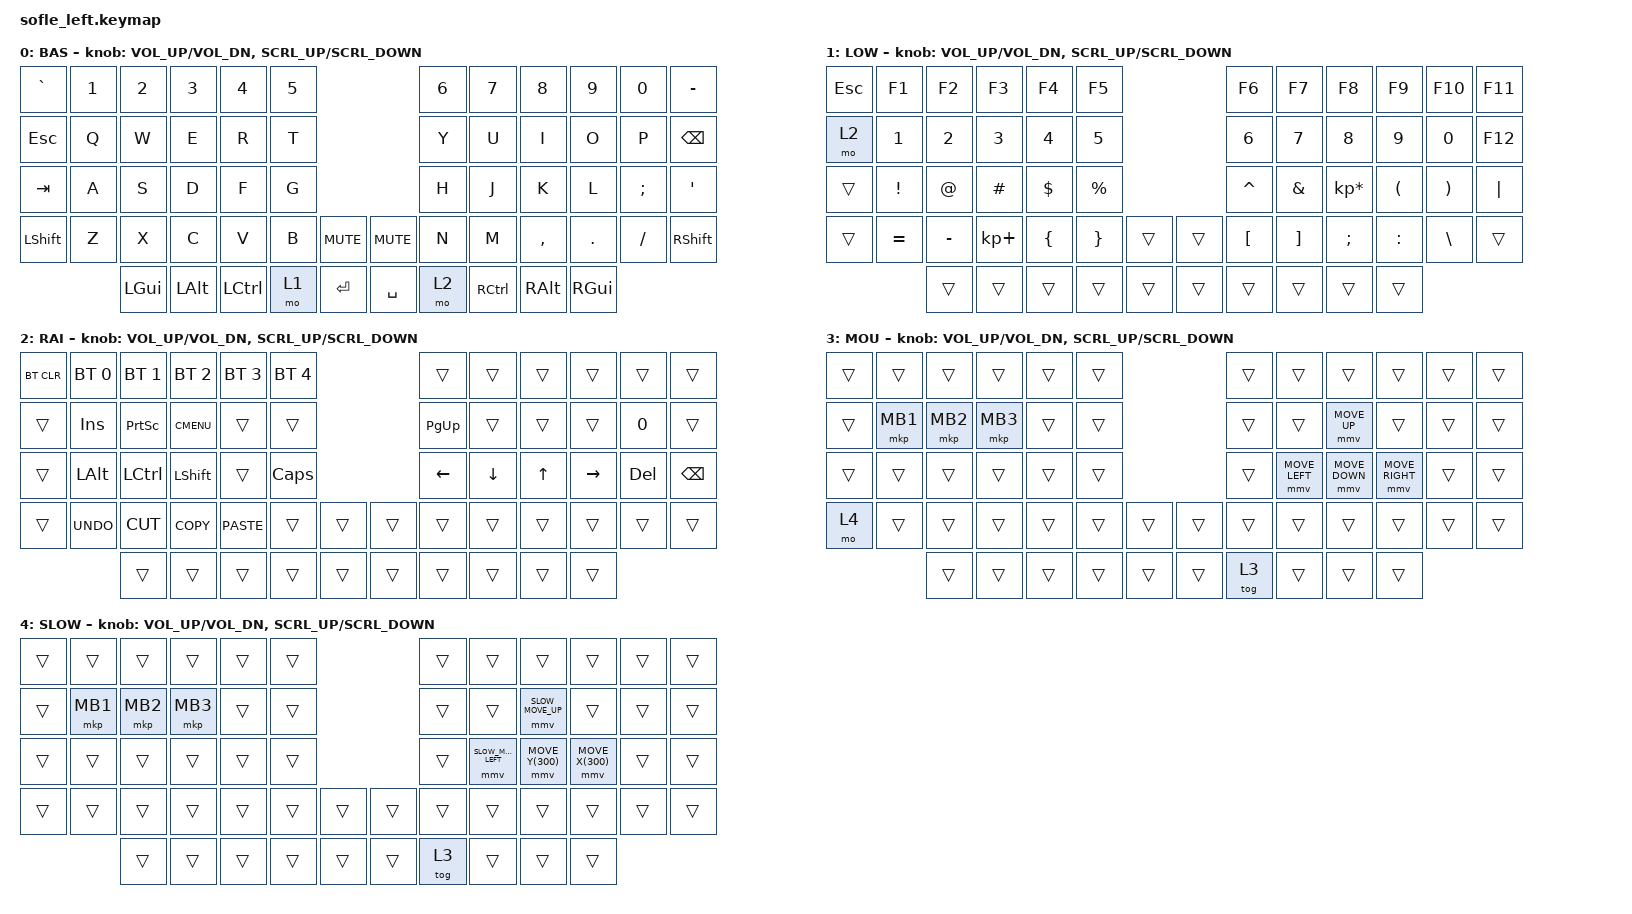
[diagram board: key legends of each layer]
/*
 * Copyright (c) 2020 The ZMK Contributors
 *
 * SPDX-License-Identifier: MIT
 */

#define ZMK_POINTING_DEFAULT_MOVE_VAL 1200
#define ZMK_POINTING_DEFAULT_SCRL_VAL 80
#include <dt-bindings/zmk/pointing.h>

#define SLOW_MOVE_UP MOVE_Y(-300)
#define SLOW_MOVE_DOWN MOVE_Y(300)
#define SLOW_MOVE_LEFT MOVE_X(-300)
#define SLOW_MOVE_RIGHT MOVE_X(300)

#include <behaviors.dtsi>
#include <dt-bindings/zmk/bt.h>
#include <dt-bindings/zmk/keys.h>

/ {
    behaviors {
        mouse_enc: mouse_enc {
            compatible = "zmk,behavior-sensor-rotate-var";
            #sensor-binding-cells = <2>;
            bindings = <&msc>, <&msc>;
            tap-ms = <25>;
        };
    };

    combos {
        compatible = "zmk,combos";
        combo_mouse_toggle {
            timeout-ms = <50>;
            key-positions = <53 56>;
            bindings = <&tog 3>;
            layers = <0>;
        };
    };

    keymap {
        compatible = "zmk,keymap";

        default_layer {
            display-name = "BAS";

            // ------------------------------------------------------------------------------------------------------------
            // |  `    |  1  |  2  |  3   |  4   |  5   |                   |  6   |  7    |  8    |  9   |   0   |       |
            // |  ESC  |  Q  |  W  |  E   |  R   |  T   |                   |  Y   |  U    |  I    |  O   |   P   | BKSPC |
            // |  TAB  |  A  |  S  |  D   |  F   |  G   |                   |  H   |  J    |  K    |  L   |   ;   |   '   |
            // | SHIFT |  Z  |  X  |  C   |  V   |  B   |  MUTE  |  |       |  N   |  M    |  ,    |  .   |   /   | SHIFT |
            //               | GUI | ALT  | CTRL | LOWER|  ENTER |  | SPACE | RAISE| CTRL  | ALT   | GUI  |

            bindings = <
&kp GRAVE  &kp N1  &kp N2    &kp N3    &kp N4     &kp N5                            &kp N6  &kp N7     &kp N8     &kp N9    &kp N0    &kp MINUS
&kp ESC    &kp Q   &kp W     &kp E     &kp R      &kp T                             &kp Y   &kp U      &kp I      &kp O     &kp P     &kp BSPC
&kp TAB    &kp A   &kp S     &kp D     &kp F      &kp G                             &kp H   &kp J      &kp K      &kp L     &kp SEMI  &kp SQT
&kp LSHFT  &kp Z   &kp X     &kp C     &kp V      &kp B   &kp C_MUTE    &kp C_MUTE  &kp N   &kp M      &kp COMMA  &kp DOT   &kp FSLH  &kp RSHFT
                   &kp LGUI  &kp LALT  &kp LCTRL  &mo 1   &kp RET       &kp SPACE   &mo 2   &kp RCTRL  &kp RALT   &kp RGUI
            >;

            sensor-bindings = <&inc_dec_kp C_VOL_UP C_VOL_DN &mouse_enc SCRL_UP SCRL_DOWN>;
        };

        lower_layer {
            display-name = "LOW";

            // ------------------------------------------------------------------------------------------------------------
            // | `     |  F1 |  F2 |  F3  |  F4  |  F5  |                   |  F6  |  F7   |  F8   |  F9  |  F10  |  F11  |
            // | RAISE |   1 |   2 |   3  |   4  |   5  |                   |   6  |   7   |   8   |   9  |    0  |  F12  |
            // |       |  !  |  @  |  #   |  $   |  %   |                   |  ^   |  &    |  *    |  (   |   )   |   |   |
            // |       |  =  |  -  |  +   |  {   |  }   |        |  |       |  [   |  ]    |  ;    |  :   |   \   |       |
            //               |     |      |      |      |        |  |       |      |       |       |      |

            bindings = <
&kp ESC  &kp F1     &kp F2     &kp F3       &kp F4    &kp F5                       &kp F6     &kp F7    &kp F8           &kp F9     &kp F10   &kp F11
&mo 2    &kp N1     &kp N2     &kp N3       &kp N4    &kp N5                       &kp N6     &kp N7    &kp N8           &kp N9     &kp N0    &kp F12
&trans   &kp EXCL   &kp AT     &kp HASH     &kp DLLR  &kp PRCNT                    &kp CARET  &kp AMPS  &kp KP_MULTIPLY  &kp LPAR   &kp RPAR  &kp PIPE
&trans   &kp EQUAL  &kp MINUS  &kp KP_PLUS  &kp LBRC  &kp RBRC   &trans    &trans  &kp LBKT   &kp RBKT  &kp SEMI         &kp COLON  &kp BSLH  &trans
                    &trans     &trans       &trans    &trans     &trans    &trans  &trans     &trans    &trans           &trans
            >;

            sensor-bindings = <&inc_dec_kp C_VOL_UP C_VOL_DN &mouse_enc SCRL_UP SCRL_DOWN>;
        };

        raise_layer {
            display-name = "RAI";

            // ------------------------------------------------------------------------------------------------------------
            // |BTCLR| BT1  | BT2  |  BT3  |  BT4  |  BT5 |                |      |      |       |      |       |       |
            // |     | INS  | PSCR | GUI   |       |      |                | PGUP |      |       |      |       |       |
            // |     | ALT  | CTRL | SHIFT |       | CAPS |                |  <-  |   v  |   ^   |  ->  |  DEL  | BKSPC |
            // |     | UNDO | CUT  | COPY  | PASTE |      |      |  |      |      |      |       |      |       |       |
            //              |      |       |       |      |      |  |      |      |      |       |      |

            bindings = <
&bt BT_CLR  &bt BT_SEL 0  &bt BT_SEL 1  &bt BT_SEL 2  &bt BT_SEL 3  &bt BT_SEL 4                    &trans     &trans    &trans  &trans     &trans   &trans
&trans      &kp INS       &kp PSCRN     &kp K_CMENU   &trans        &trans                          &kp PG_UP  &trans    &trans  &trans     &kp N0   &trans
&trans      &kp LALT      &kp LCTRL     &kp LSHFT     &trans        &kp CLCK                        &kp LEFT   &kp DOWN  &kp UP  &kp RIGHT  &kp DEL  &kp BSPC
&trans      &kp K_UNDO    &kp K_CUT     &kp K_COPY    &kp K_PASTE   &trans        &trans    &trans  &trans     &trans    &trans  &trans     &trans   &trans
                          &trans        &trans        &trans        &trans        &trans    &trans  &trans     &trans    &trans  &trans
            >;

            sensor-bindings = <&inc_dec_kp C_VOL_UP C_VOL_DN &mouse_enc SCRL_UP SCRL_DOWN>;
        };

        mouse_layer {
            display-name = "MOU";

            bindings = <
&trans  &trans  &trans  &trans  &trans  &trans                            &trans  &trans     &trans         &trans  &trans  &trans
&trans  &mkp MB1  &mkp MB2  &mkp MB3  &trans  &trans                            &trans  &trans     &mmv MOVE_UP    &trans  &trans  &trans
&trans  &trans  &trans  &trans  &trans  &trans                            &trans  &mmv MOVE_LEFT  &mmv MOVE_DOWN  &mmv MOVE_RIGHT  &trans  &trans
&mo 4   &trans  &trans  &trans  &trans  &trans  &trans  &trans            &trans  &trans     &trans         &trans  &trans  &trans
                   &trans  &trans  &trans  &trans  &trans            &trans  &tog 3   &trans         &trans  &trans
            >;

            sensor-bindings = <&inc_dec_kp C_VOL_UP C_VOL_DN &mouse_enc SCRL_UP SCRL_DOWN>;
        };

        slow_mouse_layer {
            display-name = "SLOW";

            bindings = <
&trans  &trans  &trans  &trans  &trans  &trans                            &trans  &trans     &trans                 &trans  &trans  &trans
&trans  &mkp MB1  &mkp MB2  &mkp MB3  &trans  &trans                            &trans  &trans     &mmv SLOW_MOVE_UP    &trans  &trans  &trans
&trans  &trans  &trans  &trans  &trans  &trans                            &trans  &mmv SLOW_MOVE_LEFT  &mmv SLOW_MOVE_DOWN  &mmv SLOW_MOVE_RIGHT  &trans  &trans
&trans  &trans  &trans  &trans  &trans  &trans  &trans  &trans            &trans  &trans     &trans                 &trans  &trans  &trans
                   &trans  &trans  &trans  &trans  &trans            &trans  &tog 3   &trans                 &trans  &trans
            >;

            sensor-bindings = <&inc_dec_kp C_VOL_UP C_VOL_DN &mouse_enc SCRL_UP SCRL_DOWN>;
        };
    };
};
